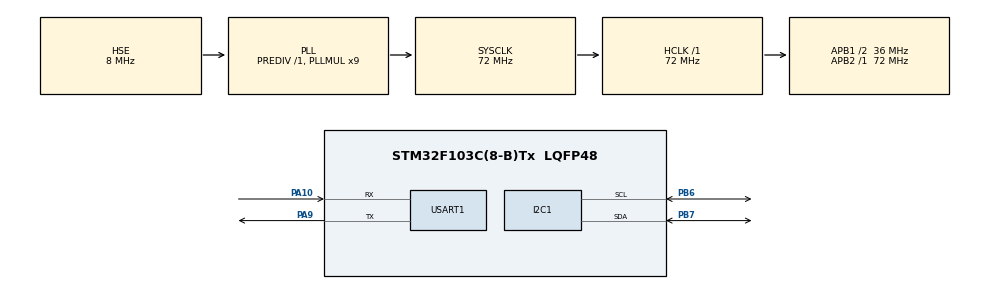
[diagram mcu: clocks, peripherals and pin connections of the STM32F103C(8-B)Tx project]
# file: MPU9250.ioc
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I2C1.I2C_Mode=I2C_Fast
Mcu.Family=STM32F1
Mcu.Name=STM32F103C(8-B)Tx
Mcu.Package=LQFP48
NVIC.PriorityGroup=NVIC_PRIORITYGROUP_4
PA10.Mode=Asynchronous
PA10.Signal=USART1_RX
PA13.Mode=Serial_Wire
PA13.Signal=SYS_JTMS-SWDIO
PA14.Mode=Serial_Wire
PA14.Signal=SYS_JTCK-SWCLK
PA9.Mode=Asynchronous
PA9.Signal=USART1_TX
PB6.Mode=I2C
PB6.Signal=I2C1_SCL
PB7.Mode=I2C
PB7.Signal=I2C1_SDA
PD0-OSC_IN.Mode=HSE-External-Oscillator
PD0-OSC_IN.Signal=RCC_OSC_IN
PD1-OSC_OUT.Mode=HSE-External-Oscillator
PD1-OSC_OUT.Signal=RCC_OSC_OUT
ProjectManager.HeapSize=0x200
ProjectManager.StackSize=0x400
ProjectManager.TargetToolchain=MDK-ARM V5
RCC.AHBFreq_Value=72000000
RCC.APB1CLKDivider=RCC_HCLK_DIV2
RCC.APB1Freq_Value=36000000
RCC.APB1TimFreq_Value=72000000
RCC.APB2Freq_Value=72000000
RCC.APB2TimFreq_Value=72000000
RCC.HCLKFreq_Value=72000000
RCC.PLLMUL=RCC_PLL_MUL9
RCC.PLLSourceVirtual=RCC_PLLSOURCE_HSE
RCC.SYSCLKFreq_VALUE=72000000
RCC.SYSCLKSource=RCC_SYSCLKSOURCE_PLLCLK
RCC.USBFreq_Value=72000000
USART1.VirtualMode=VM_ASYNC
board=custom

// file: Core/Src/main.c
/* USER CODE BEGIN Header */
/**
  ******************************************************************************
  * @file           : main.c
  * @brief          : Main program body
  ******************************************************************************
  * @attention
  *
  * <h2><center>&copy; Copyright (c) 2021 STMicroelectronics.
  * All rights reserved.</center></h2>
  *
  * This software component is licensed by ST under BSD 3-Clause license,
  * the "License"; You may not use this file except in compliance with the
  * License. You may obtain a copy of the License at:
  *                        opensource.org/licenses/BSD-3-Clause
  *
  ******************************************************************************
  */
/* USER CODE END Header */
#include "main.h"

/* USER CODE BEGIN Includes */

#include "MPU9250RegisterMap.h"
#include "MPU9250.h"
#include "Quaternion.h"
/* USER CODE END Includes */

/* USER CODE BEGIN PM */
double buffer[3];
/* USER CODE END PM */

I2C_HandleTypeDef hi2c1;

UART_HandleTypeDef huart1;

void SystemClock_Config(void);
static void MX_GPIO_Init(void);
static void MX_I2C1_Init(void);
static void MX_USART1_UART_Init(void);

/* USER CODE BEGIN 0 */
uint8_t system, gyro, accel, mg = 0;
double accX, accY, accZ;
double gyroX , gyroY, gyroZ;

float rollActual;
float pitchActual;
float yawActual;
float q0;
float q1;
float q2;
float q3;
/* USER CODE END 0 */

int16_t dest[10];
int main(void)
{

  /* MCU Configuration--------------------------------------------------------*/

  /* Reset of all peripherals, Initializes the Flash interface and the Systick. */
  HAL_Init();

  /* Configure the system clock */
  SystemClock_Config();

  /* Initialize all configured peripherals */
  MX_GPIO_Init();
  MX_I2C1_Init();
  MX_USART1_UART_Init();
  /* USER CODE BEGIN 2 */

	MPU9250_Init(&hi2c1,A2G,G250DPS,SMPL_1000HZ,GYRO_DLPF_250HZ,ACCEL_DLPF_99HZ);

	//MPU9250_Calibrate_Mag();
	MPU9250_MagnetometerInit(M16BITS);
	select_filter(0);
  /* USER CODE END 2 */

  /* Infinite loop */
  /* USER CODE BEGIN WHILE */
  while(1)
  {
	//	MPU9250_MainUpdateFunction();
	//	MPU9250_UpdateAccelGyro();
		MPU9250_UpdateMag();

  }
}

void SystemClock_Config(void)
{
  RCC_OscInitTypeDef RCC_OscInitStruct = {0};
  RCC_ClkInitTypeDef RCC_ClkInitStruct = {0};

  /** Initializes the RCC Oscillators according to the specified parameters
  * in the RCC_OscInitTypeDef structure.
  */
  RCC_OscInitStruct.OscillatorType = RCC_OSCILLATORTYPE_HSE;
  RCC_OscInitStruct.HSEState = RCC_HSE_ON;
  RCC_OscInitStruct.HSEPredivValue = RCC_HSE_PREDIV_DIV1;
  RCC_OscInitStruct.HSIState = RCC_HSI_ON;
  RCC_OscInitStruct.PLL.PLLState = RCC_PLL_ON;
  RCC_OscInitStruct.PLL.PLLSource = RCC_PLLSOURCE_HSE;
  RCC_OscInitStruct.PLL.PLLMUL = RCC_PLL_MUL9;
  if (HAL_RCC_OscConfig(&RCC_OscInitStruct) != HAL_OK)
  {
    Error_Handler();
  }
  /** Initializes the CPU, AHB and APB buses clocks
  */
  RCC_ClkInitStruct.ClockType = RCC_CLOCKTYPE_HCLK|RCC_CLOCKTYPE_SYSCLK
                              |RCC_CLOCKTYPE_PCLK1|RCC_CLOCKTYPE_PCLK2;
  RCC_ClkInitStruct.SYSCLKSource = RCC_SYSCLKSOURCE_PLLCLK;
  RCC_ClkInitStruct.AHBCLKDivider = RCC_SYSCLK_DIV1;
  RCC_ClkInitStruct.APB1CLKDivider = RCC_HCLK_DIV2;
  RCC_ClkInitStruct.APB2CLKDivider = RCC_HCLK_DIV1;

  if (HAL_RCC_ClockConfig(&RCC_ClkInitStruct, FLASH_LATENCY_2) != HAL_OK)
  {
    Error_Handler();
  }
}

static void MX_I2C1_Init(void)
{

  hi2c1.Instance = I2C1;
  hi2c1.Init.ClockSpeed = 400000;
  hi2c1.Init.DutyCycle = I2C_DUTYCYCLE_2;
  hi2c1.Init.OwnAddress1 = 0;
  hi2c1.Init.AddressingMode = I2C_ADDRESSINGMODE_7BIT;
  hi2c1.Init.DualAddressMode = I2C_DUALADDRESS_DISABLE;
  hi2c1.Init.OwnAddress2 = 0;
  hi2c1.Init.GeneralCallMode = I2C_GENERALCALL_DISABLE;
  hi2c1.Init.NoStretchMode = I2C_NOSTRETCH_DISABLE;
  if (HAL_I2C_Init(&hi2c1) != HAL_OK)
  {
    Error_Handler();
  }

}

static void MX_USART1_UART_Init(void)
{

  huart1.Instance = USART1;
  huart1.Init.BaudRate = 115200;
  huart1.Init.WordLength = UART_WORDLENGTH_8B;
  huart1.Init.StopBits = UART_STOPBITS_1;
  huart1.Init.Parity = UART_PARITY_NONE;
  huart1.Init.Mode = UART_MODE_TX_RX;
  huart1.Init.HwFlowCtl = UART_HWCONTROL_NONE;
  huart1.Init.OverSampling = UART_OVERSAMPLING_16;
  if (HAL_UART_Init(&huart1) != HAL_OK)
  {
    Error_Handler();
  }

}

static void MX_GPIO_Init(void)
{

  /* GPIO Ports Clock Enable */
  __HAL_RCC_GPIOD_CLK_ENABLE();
  __HAL_RCC_GPIOA_CLK_ENABLE();
  __HAL_RCC_GPIOB_CLK_ENABLE();

}

void Error_Handler(void)
{
  __disable_irq();
  while (1)
  {
  }
}

/************************ (C) COPYRIGHT STMicroelectronics *****END OF FILE****/
